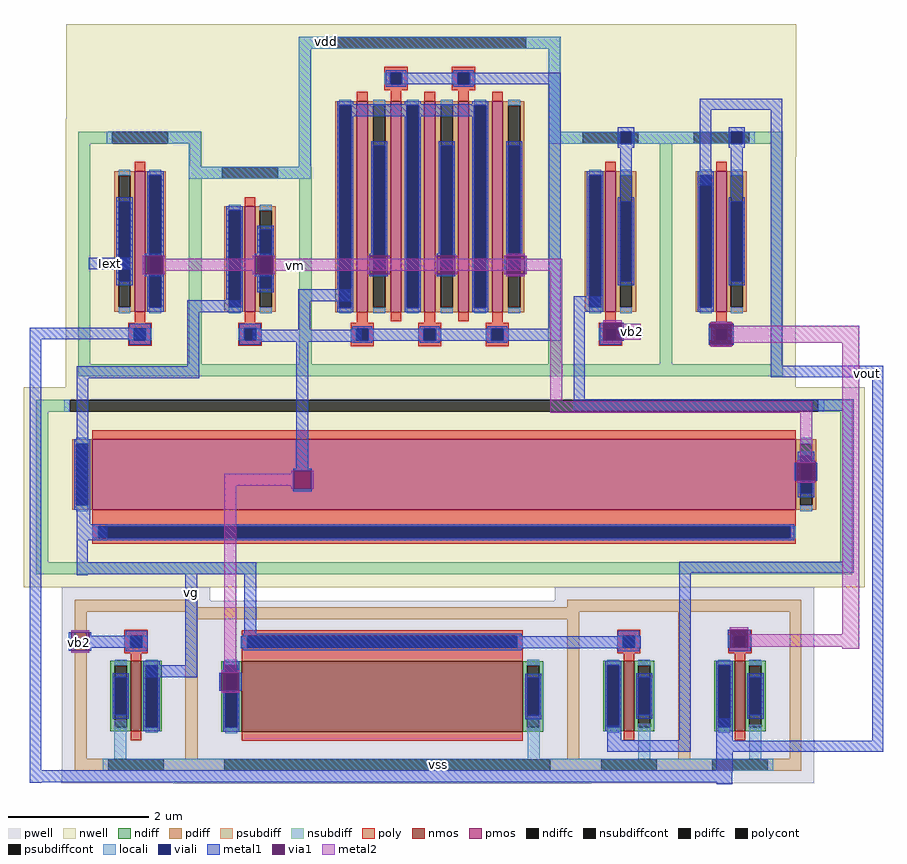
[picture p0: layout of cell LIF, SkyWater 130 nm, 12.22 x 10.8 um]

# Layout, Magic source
magic
tech sky130B
magscale 1 2
<< nwell >>
rect -272 867 1804 1244
<< nsubdiff >>
rect 423 1175 1132 1209
<< locali >>
rect 389 1175 1135 1209
rect -152 906 111 940
rect 77 839 111 906
rect 389 839 423 1175
rect 1101 939 1135 1175
rect 1101 905 1303 939
rect 1337 905 1618 939
rect 1652 905 1677 939
rect 77 805 423 839
rect -135 -844 -101 -735
rect 1041 -844 1075 -717
rect 1355 -844 1389 -744
rect 1671 -844 1705 -748
rect -168 -878 1739 -844
<< viali >>
rect 1303 905 1337 939
rect 1618 905 1652 939
<< metal1 >>
rect 1530 1001 1764 1033
rect 1297 939 1343 951
rect 1297 905 1303 939
rect 1337 905 1343 939
rect 1297 893 1343 905
rect 1303 750 1337 893
rect 1530 786 1562 1001
rect 1612 939 1658 951
rect 1612 905 1618 939
rect 1652 905 1658 939
rect 1612 893 1658 905
rect 1618 743 1652 893
rect -48 586 4 592
rect -207 547 -82 581
rect -48 528 4 534
rect 265 586 317 592
rect 265 528 317 534
rect 72 425 228 459
rect 388 457 542 491
rect -376 348 -44 382
rect -376 -877 -342 348
rect 72 272 106 425
rect 388 375 422 457
rect 1171 439 1248 471
rect 1171 427 1217 439
rect 258 341 569 375
rect -242 238 106 272
rect -242 32 -209 238
rect -242 -27 -210 32
rect 383 -19 417 341
rect 1171 178 1203 427
rect 1250 344 1256 396
rect 1308 344 1314 396
rect 1555 333 1561 393
rect 1621 333 1627 393
rect 1732 273 1764 1001
rect 1731 241 2052 273
rect 1171 146 1967 178
rect 374 -25 426 -19
rect -242 -177 -203 -27
rect 1800 -54 1806 -2
rect 1858 -54 1864 -2
rect 374 -83 426 -77
rect -242 -183 -192 -177
rect -242 -216 -155 -183
rect -242 -223 -180 -216
rect -242 -285 -210 -223
rect 1935 -284 1967 146
rect -242 -286 101 -285
rect -242 -319 268 -286
rect -242 -323 -210 -319
rect 67 -320 268 -319
rect -264 -537 -258 -485
rect -206 -494 -200 -485
rect -206 -528 -40 -494
rect -206 -537 -200 -528
rect 67 -579 101 -320
rect 234 -496 268 -320
rect 1472 -316 1967 -284
rect 225 -529 1362 -496
rect 225 -530 393 -529
rect 464 -530 1362 -529
rect -47 -613 101 -579
rect 163 -651 169 -599
rect 221 -651 227 -599
rect 1266 -764 1301 -750
rect 1266 -792 1307 -764
rect 1472 -792 1504 -316
rect 1609 -529 1615 -477
rect 1667 -529 1673 -477
rect 1583 -765 1615 -729
rect 1577 -792 1623 -765
rect 1266 -808 1504 -792
rect 1267 -824 1504 -808
rect 1576 -793 1623 -792
rect 2020 -793 2052 241
rect 1576 -824 2052 -793
rect 1577 -825 2052 -824
rect 1577 -877 1623 -825
rect -376 -881 1623 -877
rect -376 -911 1622 -881
rect -376 -912 -342 -911
rect 1578 -916 1622 -911
<< via1 >>
rect -48 534 4 586
rect 265 534 317 586
rect 1256 344 1308 396
rect 1561 333 1621 393
rect 374 -77 426 -25
rect 1806 -54 1858 -2
rect -258 -537 -206 -485
rect 169 -651 221 -599
rect 1615 -529 1667 -477
<< metal2 >>
rect -54 534 -48 586
rect 4 577 10 586
rect 259 577 265 586
rect 4 543 265 577
rect 4 534 10 543
rect 259 534 265 543
rect 317 577 323 586
rect 317 543 1139 577
rect 317 534 323 543
rect 1105 173 1139 543
rect 1256 396 1308 402
rect 1561 393 1621 399
rect 1308 347 1362 393
rect 1256 338 1308 344
rect 1621 339 1983 387
rect 1561 327 1621 333
rect 1105 139 1849 173
rect 1815 4 1849 139
rect 1806 -2 1858 4
rect 368 -34 374 -25
rect 178 -68 374 -34
rect -258 -485 -206 -479
rect -258 -543 -206 -537
rect 178 -593 212 -68
rect 368 -77 374 -68
rect 426 -77 432 -25
rect 1806 -60 1858 -54
rect 1615 -477 1667 -471
rect 1935 -490 1983 339
rect 1667 -526 1983 -490
rect 1615 -535 1667 -529
rect 1935 -532 1983 -526
rect 169 -599 221 -593
rect 169 -657 221 -651
use M5  M5_0
transform -1 0 -73 0 1 -635
box -211 -279 211 279
use M5  M5_1
transform 1 0 1328 0 1 -635
box -211 -279 211 279
use M6  M6_0
transform -1 0 -62 0 1 591
box -211 -384 211 384
use M6  M6_1
transform 1 0 1591 0 1 591
box -211 -384 211 384
use sky130_fd_pr__nfet_01v8_GSRC26  sky130_fd_pr__nfet_01v8_GSRC26_0
transform 1 0 627 0 -1 -636
box -596 -241 601 279
use M5  sky130_fd_pr__nfet_01v8_NE5NAH_0
transform 1 0 1644 0 1 -635
box -211 -279 211 279
use M3  sky130_fd_pr__pfet_01v8_9RBQXV_0
transform 1 0 762 0 1 726
box -407 -519 407 519
use M1  sky130_fd_pr__pfet_01v8_AXGCW8_0
transform 1 0 803 0 1 -72
box -1196 -284 1196 284
use M2  sky130_fd_pr__pfet_01v8_HERV5D_0
transform 1 0 251 0 1 541
box -211 -334 211 334
use M6  sky130_fd_pr__pfet_01v8_MNLW5D_0
transform 1 0 1276 0 1 591
box -211 -384 211 384
<< labels >>
flabel locali s 468 1196 468 1196 0 FreeSans 480 0 0 0 vdd
port 0 nsew
flabel metal2 379 557 379 557 0 FreeSans 480 0 0 0 vm
flabel metal1 -207 547 -82 581 0 FreeSans 480 0 0 0 Iext
port 1 nsew
flabel locali -168 -878 1739 -844 0 FreeSans 480 0 0 0 vss
port 2 nsew
flabel metal1 2008 251 2008 251 0 FreeSans 480 0 0 0 vout
port 5 nsew
flabel metal1 84 -372 84 -372 0 FreeSans 480 0 0 0 vg
flabel metal2 1316 347 1362 393 0 FreeSans 480 0 0 0 vb2
port 6 nsew
flabel via1 -233 -513 -233 -513 0 FreeSans 480 0 0 0 vb2
port 7 nsew
<< end >>

# cell M5: kit device sky130_fd_pr__nfet_01v8, w 1 l 0.150 m 1 nf 1 diffcov 100 polycov 100 guard 1 glc 0 grc 0 gtc 0 gbc 1 tbcov 100 rlcov 100 topc 1 botc 0 poverlap 0 doverlap 1 lmin 0.15 wmin 0.42 compatible {sky130_fd_pr__nfet_01v8 sky130_fd_pr__nfet_01v8_lvt sky130_fd_bs_flash__special_sonosfet_star sky130_fd_pr__nfet_g5v0d10v5 sky130_fd_pr__nfet_05v0_nvt sky130_fd_pr__nfet_03v3_nvt} full_metal 0 viasrc 60 viadrn 100 viagate 100 viagb 0 viagr 0 viagl 0 viagt 0

# cell M6: kit device sky130_fd_pr__pfet_01v8, w 2 l 0.15 m 1 nf 1 diffcov 100 polycov 100 guard 1 glc 0 grc 0 gtc 1 gbc 0 tbcov 100 rlcov 100 topc 0 botc 1 poverlap 0 doverlap 1 lmin 0.15 wmin 0.42 compatible {sky130_fd_pr__pfet_01v8 sky130_fd_pr__pfet_01v8_lvt sky130_fd_pr__pfet_01v8_hvt sky130_fd_pr__pfet_g5v0d10v5} full_metal 0 viasrc 60 viadrn 100 viagate 100 viagb 0 viagr 0 viagl 0 viagt 0

# cell sky130_fd_pr__nfet_01v8_GSRC26: kit device sky130_fd_pr__nfet_01v8, w 1 l 4 m 1 nf 1 diffcov 100 polycov 100 guard 1 glc 0 grc 0 gtc 0 gbc 1 tbcov 100 rlcov 100 topc 0 botc 1 poverlap 0 doverlap 1 lmin 0.15 wmin 0.42 compatible {sky130_fd_pr__nfet_01v8 sky130_fd_pr__nfet_01v8_lvt sky130_fd_bs_flash__special_sonosfet_star sky130_fd_pr__nfet_g5v0d10v5 sky130_fd_pr__nfet_05v0_nvt sky130_fd_pr__nfet_03v3_nvt} full_metal 0 viasrc 60 viadrn 100 viagate 100 viagb 0 viagr 0 viagl 0 viagt 0

# cell M3: kit device sky130_fd_pr__pfet_01v8, w 3 l 0.15 m 1 nf 5 diffcov 100 polycov 100 guard 1 glc 0 grc 0 gtc 1 gbc 0 tbcov 100 rlcov 100 topc 0 botc 1 poverlap 0 doverlap 1 lmin 0.15 wmin 0.42 compatible {sky130_fd_pr__pfet_01v8 sky130_fd_pr__pfet_01v8_lvt sky130_fd_pr__pfet_01v8_hvt sky130_fd_pr__pfet_g5v0d10v5} full_metal 0 viasrc 60 viadrn 100 viagate 100 viagb 0 viagr 0 viagl 0 viagt 0

# cell M1: kit device sky130_fd_pr__pfet_01v8, w 1 l 10 m 1 nf 1 diffcov 100 polycov 100 guard 1 glc 0 grc 0 gtc 1 gbc 0 tbcov 100 rlcov 100 topc 0 botc 1 poverlap 0 doverlap 1 lmin 0.15 wmin 0.42 compatible {sky130_fd_pr__pfet_01v8 sky130_fd_pr__pfet_01v8_lvt sky130_fd_pr__pfet_01v8_hvt sky130_fd_pr__pfet_g5v0d10v5} full_metal 0 viasrc 60 viadrn 100 viagate 100 viagb 0 viagr 0 viagl 0 viagt 0

# cell M2: kit device sky130_fd_pr__pfet_01v8, w 1.5 l 0.15 m 1 nf 1 diffcov 100 polycov 100 guard 1 glc 0 grc 0 gtc 1 gbc 0 tbcov 100 rlcov 100 topc 0 botc 1 poverlap 0 doverlap 1 lmin 0.15 wmin 0.42 compatible {sky130_fd_pr__pfet_01v8 sky130_fd_pr__pfet_01v8_lvt sky130_fd_pr__pfet_01v8_hvt sky130_fd_pr__pfet_g5v0d10v5} full_metal 0 viasrc 60 viadrn 100 viagate 100 viagb 0 viagr 0 viagl 0 viagt 0
